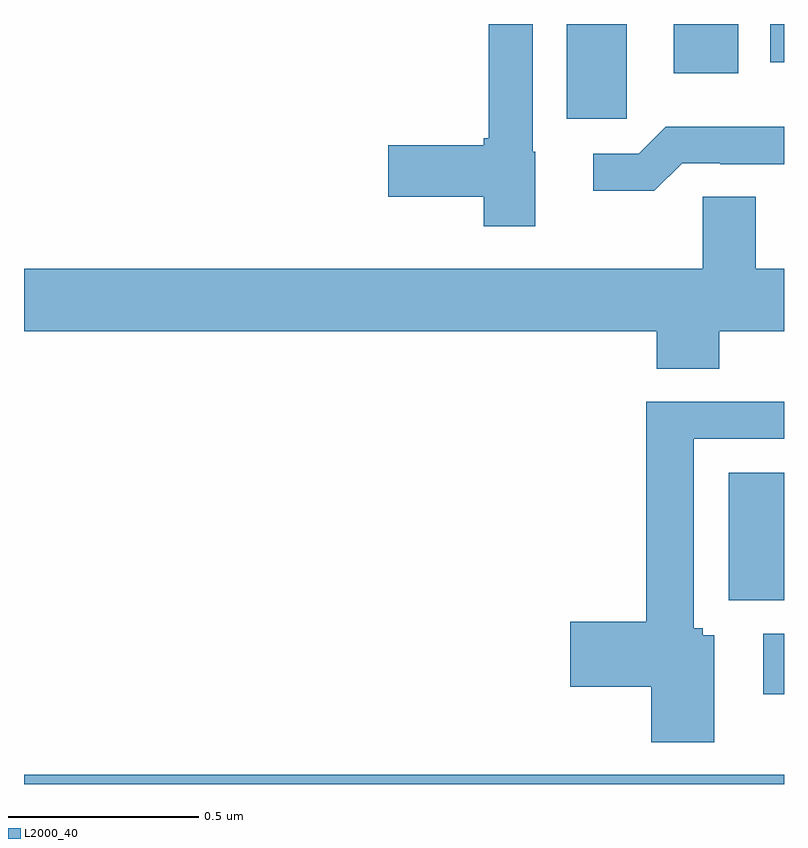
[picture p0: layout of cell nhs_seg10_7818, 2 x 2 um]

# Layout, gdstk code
import gdstk
lib = gdstk.Library(unit=1e-6, precision=1e-09)
def R(c, l, rs):  # rectangles x0, y0, x1, y1
    for r in rs: c.add(gdstk.rectangle(r[:2], r[2:], *l))
def P(c, l, *ps):  # polygons
    for p in ps: c.add(gdstk.Polygon(p, *l))
L2000_40 = (2000, 40)

nhs_seg10_7818 = lib.new_cell('nhs_seg10_7818')
R(nhs_seg10_7818, L2000_40, [(209,1256.5,211,1256.524), (210.945,1256.736,211,1256.895), (210.854,1256.984,211,1257.319), (210.428,1258.251,210.586,1258.5), (210.71,1258.371,210.879,1258.5), (210.964,1258.4,211,1258.5)])
P(nhs_seg10_7818, L2000_40, [(210.346,1258.164),(210.339,1258.164),(210.339,1258.5),(210.223,1258.5),(210.223,1258.199),(210.21,1258.199),(210.21,1258.181),(209.958,1258.181),(209.958,1258.046),(210.21,1258.046),(210.21,1257.968),(210.346,1257.968)],
  [(210.732,1258.134),(210.832,1258.134),(210.832,1258.131),(211,1258.131),(211,1258.229),(210.689,1258.229),(210.618,1258.158),(210.498,1258.158),(210.498,1258.061),(210.659,1258.061)],
  [(210.83,1257.692),(211,1257.692),(211,1257.856),(210.925,1257.856),(210.925,1258.046),(210.786,1258.046),(210.786,1257.856),(209,1257.856),(209,1257.692),(210.665,1257.692),(210.665,1257.593),(210.83,1257.593)],
  [(210.817,1256.892),(210.786,1256.892),(210.786,1256.91),(210.763,1256.91),(210.763,1257.408),(211,1257.408),(211,1257.506),(210.638,1257.506),(210.638,1256.927),(210.438,1256.927),(210.438,1256.756),(210.65,1256.756),(210.65,1256.61),(210.817,1256.61)])

lib.write_gds('nhs_seg10_7818.gds')
